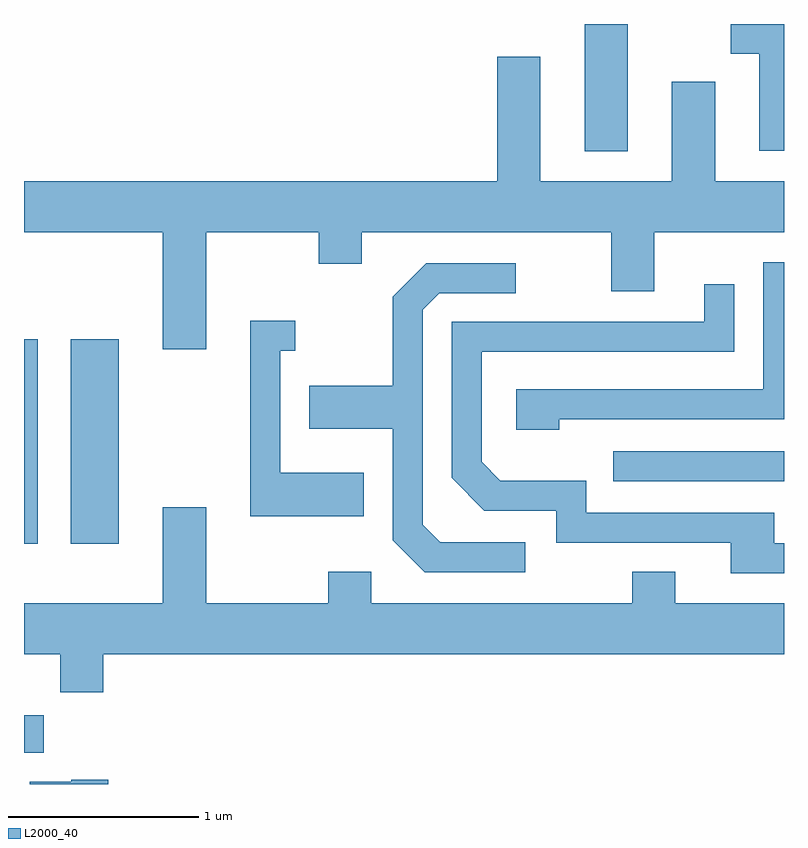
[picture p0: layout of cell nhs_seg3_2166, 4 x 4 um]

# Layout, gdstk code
import gdstk
lib = gdstk.Library(unit=1e-6, precision=1e-09)
def R(c, l, rs):  # rectangles x0, y0, x1, y1
    for r in rs: c.add(gdstk.rectangle(r[:2], r[2:], *l))
def P(c, l, *ps):  # polygons
    for p in ps: c.add(gdstk.Polygon(p, *l))
L2000_40 = (2000, 40)

nhs_seg3_2166 = lib.new_cell('nhs_seg3_2166')
R(nhs_seg3_2166, L2000_40, [(247.611,1232.056,247.714,1232.254), (247.611,1233.156,247.684,1234.234), (247.856,1233.156,248.109,1234.234), (250.713,1233.486,251.611,1233.644), (250.561,1235.221,250.789,1235.892)])
P(nhs_seg3_2166, L2000_40, [(251.611,1235.892),(251.331,1235.892),(251.331,1235.736),(251.481,1235.736),(251.481,1235.226),(251.611,1235.226)],
  [(248.569,1234.796),(249.161,1234.796),(249.161,1234.631),(249.389,1234.631),(249.389,1234.796),(250.701,1234.796),(250.701,1234.486),(250.929,1234.486),(250.929,1234.796),(251.611,1234.796),(251.611,1235.064),(251.249,1235.064),(251.249,1235.589),(251.021,1235.589),(251.021,1235.064),(250.329,1235.064),(250.329,1235.719),(250.101,1235.719),(250.101,1235.064),(247.611,1235.064),(247.611,1234.796),(248.341,1234.796),(248.341,1234.181),(248.569,1234.181)],
  [(250.429,1233.811),(251.611,1233.811),(251.611,1234.639),(251.501,1234.639),(251.501,1233.969),(250.201,1233.969),(250.201,1233.756),(250.429,1233.756)],
  [(250.248,1233.164),(249.802,1233.164),(249.709,1233.257),(249.709,1234.389),(249.797,1234.476),(250.198,1234.476),(250.198,1234.634),(249.729,1234.634),(249.551,1234.457),(249.551,1233.989),(249.111,1233.989),(249.111,1233.761),(249.551,1233.761),(249.551,1233.174),(249.719,1233.006),(250.248,1233.006)],
  [(251.611,1233.159),(251.559,1233.159),(251.559,1233.319),(250.569,1233.319),(250.569,1233.489),(250.117,1233.489),(250.019,1233.587),(250.019,1234.166),(251.349,1234.166),(251.349,1234.523),(251.191,1234.523),(251.191,1234.324),(249.861,1234.324),(249.861,1233.504),(250.034,1233.331),(250.411,1233.331),(250.411,1233.161),(251.331,1233.161),(251.331,1233.001),(251.611,1233.001)],
  [(249.399,1233.529),(248.959,1233.529),(248.959,1234.171),(249.038,1234.171),(249.038,1234.329),(248.801,1234.329),(248.801,1233.301),(249.399,1233.301)],
  [(248.029,1232.576),(251.611,1232.576),(251.611,1232.844),(251.039,1232.844),(251.039,1233.009),(250.811,1233.009),(250.811,1232.844),(249.439,1232.844),(249.439,1233.009),(249.211,1233.009),(249.211,1232.844),(248.569,1232.844),(248.569,1233.349),(248.341,1233.349),(248.341,1232.844),(247.611,1232.844),(247.611,1232.576),(247.801,1232.576),(247.801,1232.376),(248.029,1232.376)],
  [(248.054,1231.914),(247.86,1231.914),(247.86,1231.904),(247.641,1231.904),(247.641,1231.892),(248.054,1231.892)])

lib.write_gds('nhs_seg3_2166.gds')
